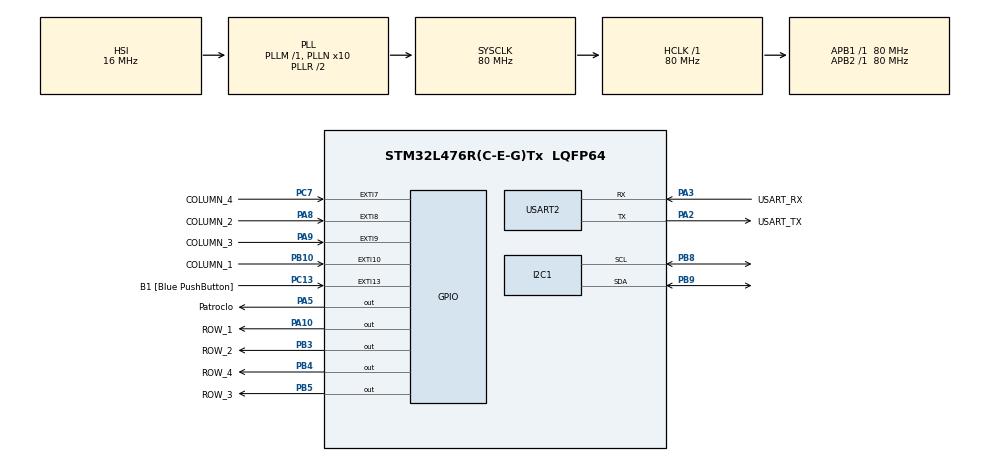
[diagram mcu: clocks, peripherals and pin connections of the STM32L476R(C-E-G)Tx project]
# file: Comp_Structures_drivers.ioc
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I2C1.Timing=0x10909CEC
Mcu.Family=STM32L4
Mcu.Name=STM32L476R(C-E-G)Tx
Mcu.Package=LQFP64
NVIC.EXTI15_10_IRQn=true\:0\:0\:false\:false\:true\:true\:true\:true
NVIC.EXTI9_5_IRQn=true\:0\:0\:false\:false\:true\:true\:true\:true
NVIC.PriorityGroup=NVIC_PRIORITYGROUP_4
NVIC.USART2_IRQn=true\:0\:0\:false\:false\:true\:true\:true\:true
PA10.GPIO_Label=ROW_1
PA10.Signal=GPIO_Output
PA13\ (JTMS-SWDIO).GPIO_Label=TMS
PA13\ (JTMS-SWDIO).Mode=Serial_Wire
PA13\ (JTMS-SWDIO).Signal=SYS_JTMS-SWDIO
PA14\ (JTCK-SWCLK).GPIO_Label=TCK
PA14\ (JTCK-SWCLK).Mode=Serial_Wire
PA14\ (JTCK-SWCLK).Signal=SYS_JTCK-SWCLK
PA2.GPIO_Label=USART_TX
PA2.GPIO_Mode=GPIO_MODE_AF_PP
PA2.GPIO_PuPd=GPIO_NOPULL
PA2.GPIO_Speed=GPIO_SPEED_FREQ_VERY_HIGH
PA2.Mode=Asynchronous
PA2.Signal=USART2_TX
PA3.GPIO_Label=USART_RX
PA3.GPIO_Mode=GPIO_MODE_AF_PP
PA3.GPIO_PuPd=GPIO_NOPULL
PA3.GPIO_Speed=GPIO_SPEED_FREQ_VERY_HIGH
PA3.Mode=Asynchronous
PA3.Signal=USART2_RX
PA5.GPIO_Label=Patroclo
PA5.GPIO_ModeDefaultOutputPP=GPIO_MODE_OUTPUT_PP
PA5.GPIO_PuPd=GPIO_NOPULL
PA5.GPIO_Speed=GPIO_SPEED_FREQ_LOW
PA5.Signal=GPIO_Output
PA8.GPIO_Label=COLUMN_2
PA8.GPIO_PuPd=GPIO_PULLDOWN
PA8.Signal=GPXTI8
PA9.GPIO_Label=COLUMN_3
PA9.GPIO_PuPd=GPIO_PULLDOWN
PA9.Signal=GPXTI9
PB10.GPIO_Label=COLUMN_1
PB10.GPIO_PuPd=GPIO_PULLDOWN
PB10.Signal=GPXTI10
PB3\ (JTDO-TRACESWO).GPIO_Label=ROW_2
PB3\ (JTDO-TRACESWO).Signal=GPIO_Output
PB4\ (NJTRST).GPIO_Label=ROW_4
PB4\ (NJTRST).Signal=GPIO_Output
PB5.GPIO_Label=ROW_3
PB5.Signal=GPIO_Output
PB8.Mode=I2C
PB8.Signal=I2C1_SCL
PB9.Mode=I2C
PB9.Signal=I2C1_SDA
PC13.GPIO_Label=B1 [Blue PushButton]
PC13.GPIO_ModeDefaultEXTI=GPIO_MODE_IT_FALLING
PC13.GPIO_PuPd=GPIO_NOPULL
PC13.Signal=GPXTI13
PC14-OSC32_IN\ (PC14).Mode=LSE-External-Oscillator
PC14-OSC32_IN\ (PC14).Signal=RCC_OSC32_IN
PC15-OSC32_OUT\ (PC15).Mode=LSE-External-Oscillator
PC15-OSC32_OUT\ (PC15).Signal=RCC_OSC32_OUT
PC7.GPIO_Label=COLUMN_4
PC7.GPIO_PuPd=GPIO_PULLDOWN
PC7.Signal=GPXTI7
PH0-OSC_IN\ (PH0).Signal=RCC_OSC_IN
PH1-OSC_OUT\ (PH1).Signal=RCC_OSC_OUT
ProjectManager.HeapSize=0x200
ProjectManager.StackSize=0x400
ProjectManager.TargetToolchain=STM32CubeIDE
RCC.ADCFreq_Value=64000000
RCC.AHBFreq_Value=80000000
RCC.APB1Freq_Value=80000000
RCC.APB1TimFreq_Value=80000000
RCC.APB2Freq_Value=80000000
RCC.APB2TimFreq_Value=80000000
RCC.CortexFreq_Value=80000000
RCC.HCLKFreq_Value=80000000
RCC.HSE_VALUE=8000000
RCC.HSI_VALUE=16000000
RCC.MSI_VALUE=4000000
RCC.PLLN=10
RCC.PLLSourceVirtual=RCC_PLLSOURCE_HSI
RCC.PREFETCH_ENABLE=1
RCC.SYSCLKFreq_VALUE=80000000
RCC.SYSCLKSource=RCC_SYSCLKSOURCE_PLLCLK
RCC.USBFreq_Value=64000000
RCC.VCOOutputFreq_Value=160000000
USART2.VirtualMode-Asynchronous=VM_ASYNC
board=NUCLEO-L476RG

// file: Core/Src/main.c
/* USER CODE BEGIN Header */
/**
  ******************************************************************************
  * @file           : main.c
  * @brief          : Main program body
  ******************************************************************************
  * @attention
  *
  * Copyright (c) 2023 STMicroelectronics.
  * All rights reserved.
  *
  * This software is licensed under terms that can be found in the LICENSE file
  * in the root directory of this software component.
  * If no LICENSE file comes with this software, it is provided AS-IS.
  *
  ******************************************************************************
  */
/* USER CODE END Header */
#include "main.h"

/* USER CODE BEGIN Includes */
#include "ring_buffer.h"
#include "stdio.h"
#include "ssd1306.h"
#include "ssd1306_fonts.h"
#include "keyboard_library.h"
#include "string.h"

/* USER CODE END Includes */

I2C_HandleTypeDef hi2c1;

UART_HandleTypeDef huart2;

/* USER CODE BEGIN PV */
uint8_t rx_buffer[5];
ring_buffer_t ring_buffer_uart_rx;
uint8_t password[] = {0x00,0x08,0x00,0x06,0x0F};
uint8_t rx_data;
uint16_t key_event = 0xFF;
uint8_t key_pressed;
uint8_t keyCount;

/* USER CODE END PV */

void SystemClock_Config(void);
static void MX_GPIO_Init(void);
static void MX_USART2_UART_Init(void);
static void MX_I2C1_Init(void);
/* USER CODE BEGIN PFP */
int _write(int file, char *ptr, int len)
{
	HAL_UART_Transmit(&huart2, (uint8_t*)ptr, len, HAL_MAX_DELAY);
	return len;
}
/* USER CODE END PFP */

/* USER CODE BEGIN 0 */
void HAL_UART_RxCpltCallback(UART_HandleTypeDef *huart)
{
	ring_buffer_put(&ring_buffer_uart_rx, key_pressed);
	HAL_UART_Receive_IT(&huart2, &key_pressed, 1);
}

void HAL_GPIO_EXTI_Callback(uint16_t GPIO_Pin)
{
			key_event = GPIO_Pin;
}

int memcmp(const void *str1, const void *str2, size_t n);

/* USER CODE END 0 */

int main(void)
{

  /* MCU Configuration--------------------------------------------------------*/

  /* Reset of all peripherals, Initializes the Flash interface and the Systick. */
	HAL_Init();

  /* Configure the system clock */
  SystemClock_Config();

  /* Initialize all configured peripherals */
  MX_GPIO_Init();
  MX_USART2_UART_Init();
  MX_I2C1_Init();
  /* USER CODE BEGIN 2 */
  keypad_init ();
  ring_buffer_init (&ring_buffer_uart_rx, rx_buffer, 5);

  HAL_UART_Receive_IT(&huart2, &rx_data, 1);

  /* USER CODE END 2 */

  /* Infinite loop */
  /* USER CODE BEGIN WHILE */

// ssd1306_Init();
// ssd1306_Fill(Black);
// ssd1306_WriteString("Hello World", Font_16x26, White);
// ssd1306_UpdateScreen();
  while (1) {
      if (key_event != 0xFF) { // Check if there is an event from the EXTi callback

          // Call the keypad handler to process the key event
          uint8_t key_pressed = keypad_handler(key_event);
          uint16_t size = ring_buffer_size(&ring_buffer_uart_rx);

          // Check if a key is pressed (key_pressed different from 0xFF)
          if (key_pressed != 0xFF) {
              // Print the pressed key in YAT (Your Application Terminal)
              printf("Key pressed: %x\r\n", key_pressed);

              // Put the key value into a ring buffer for further processing
              ring_buffer_put(&ring_buffer_uart_rx, key_pressed);
          }

          // Reset the event after processing
          key_event = 0xFF;

          // Increment the key count (counter for the number of keys pressed)
          keyCount++;

          if (keyCount == 5) {
              // Print the sequence every 5 keys pressed
              printf("The sequence is %x, %x, %x, %x, %x \r\n", rx_buffer[0], rx_buffer[1], rx_buffer[2], rx_buffer[3], rx_buffer[4]);
              keyCount = 0; // Restart the counter
          }

          if (key_pressed == 0x0E) {
              // Reset the UART RX buffer, clear buffer to restart sequence, and update OLED screen
              ring_buffer_reset(&ring_buffer_uart_rx);
              memset(rx_buffer, '\0', sizeof(rx_buffer));
              ssd1306_Fill(Black);
              ssd1306_SetCursor(20, 20);
              ssd1306_WriteString("WAIT", Font_16x26, White);
              ssd1306_UpdateScreen();
          }

          if ((memcmp(rx_buffer, password, 5) == 0) && (ring_buffer_full(&ring_buffer_uart_rx) == 1)) {
              // Display 'PASS' message on the OLED screen if the password is correct
              ssd1306_Fill(White);
              ssd1306_SetCursor(20, 20);
              ssd1306_WriteString("PASS", Font_16x26, Black);
              ssd1306_UpdateScreen();
          }

          if ((memcmp(rx_buffer, password, 5) != 0) && (ring_buffer_full(&ring_buffer_uart_rx) == 1)) {
              // Display 'FAIL' message on the OLED screen if the password is incorrect
              ssd1306_Fill(Black);
              ssd1306_SetCursor(20, 20);
              ssd1306_WriteString("FAIL", Font_16x26, White);
              ssd1306_UpdateScreen();
          }
      }
  }
}

//  {
//
//		if (key_event != 0xFF) { // check if there is a event from the EXTi callback
//			  uint16_t key_pressed = keypad_handler(key_event); // call the keypad handler
//			  if (key_pressed != 0xFF) {
//				  printf("Key pressed: %x\r\n", key_pressed); // print the key pressed
//				  }
//			  key_event = 0xFF; // clean the event
//
//	//		  ring_buffer_put(&ring_buffer, key_pressed);
//	//		  ssd1306_Fill(Black);
//	//		  ssd1306_WriteString("", Font_16x26, White);
//	//		  ssd1306_UpdateScreen();
//
//    /* USER CODE END WHILE */
//
//    /* USER CODE BEGIN 3 */
//  }
//  /* USER CODE END 3 */
//}
//}

void SystemClock_Config(void)
{
  RCC_OscInitTypeDef RCC_OscInitStruct = {0};
  RCC_ClkInitTypeDef RCC_ClkInitStruct = {0};

  /** Configure the main internal regulator output voltage
  */
  if (HAL_PWREx_ControlVoltageScaling(PWR_REGULATOR_VOLTAGE_SCALE1) != HAL_OK)
  {
    Error_Handler();
  }

  /** Initializes the RCC Oscillators according to the specified parameters
  * in the RCC_OscInitTypeDef structure.
  */
  RCC_OscInitStruct.OscillatorType = RCC_OSCILLATORTYPE_HSI;
  RCC_OscInitStruct.HSIState = RCC_HSI_ON;
  RCC_OscInitStruct.HSICalibrationValue = RCC_HSICALIBRATION_DEFAULT;
  RCC_OscInitStruct.PLL.PLLState = RCC_PLL_ON;
  RCC_OscInitStruct.PLL.PLLSource = RCC_PLLSOURCE_HSI;
  RCC_OscInitStruct.PLL.PLLM = 1;
  RCC_OscInitStruct.PLL.PLLN = 10;
  RCC_OscInitStruct.PLL.PLLP = RCC_PLLP_DIV7;
  RCC_OscInitStruct.PLL.PLLQ = RCC_PLLQ_DIV2;
  RCC_OscInitStruct.PLL.PLLR = RCC_PLLR_DIV2;
  if (HAL_RCC_OscConfig(&RCC_OscInitStruct) != HAL_OK)
  {
    Error_Handler();
  }

  /** Initializes the CPU, AHB and APB buses clocks
  */
  RCC_ClkInitStruct.ClockType = RCC_CLOCKTYPE_HCLK|RCC_CLOCKTYPE_SYSCLK
                              |RCC_CLOCKTYPE_PCLK1|RCC_CLOCKTYPE_PCLK2;
  RCC_ClkInitStruct.SYSCLKSource = RCC_SYSCLKSOURCE_PLLCLK;
  RCC_ClkInitStruct.AHBCLKDivider = RCC_SYSCLK_DIV1;
  RCC_ClkInitStruct.APB1CLKDivider = RCC_HCLK_DIV1;
  RCC_ClkInitStruct.APB2CLKDivider = RCC_HCLK_DIV1;

  if (HAL_RCC_ClockConfig(&RCC_ClkInitStruct, FLASH_LATENCY_4) != HAL_OK)
  {
    Error_Handler();
  }
}
static void MX_I2C1_Init(void)
{

  hi2c1.Instance = I2C1;
  hi2c1.Init.Timing = 0x10909CEC;
  hi2c1.Init.OwnAddress1 = 0;
  hi2c1.Init.AddressingMode = I2C_ADDRESSINGMODE_7BIT;
  hi2c1.Init.DualAddressMode = I2C_DUALADDRESS_DISABLE;
  hi2c1.Init.OwnAddress2 = 0;
  hi2c1.Init.OwnAddress2Masks = I2C_OA2_NOMASK;
  hi2c1.Init.GeneralCallMode = I2C_GENERALCALL_DISABLE;
  hi2c1.Init.NoStretchMode = I2C_NOSTRETCH_DISABLE;
  if (HAL_I2C_Init(&hi2c1) != HAL_OK)
  {
    Error_Handler();
  }

  /** Configure Analogue filter
  */
  if (HAL_I2CEx_ConfigAnalogFilter(&hi2c1, I2C_ANALOGFILTER_ENABLE) != HAL_OK)
  {
    Error_Handler();
  }

  /** Configure Digital filter
  */
  if (HAL_I2CEx_ConfigDigitalFilter(&hi2c1, 0) != HAL_OK)
  {
    Error_Handler();
  }

}

static void MX_USART2_UART_Init(void)
{

  huart2.Instance = USART2;
  huart2.Init.BaudRate = 115200;
  huart2.Init.WordLength = UART_WORDLENGTH_8B;
  huart2.Init.StopBits = UART_STOPBITS_1;
  huart2.Init.Parity = UART_PARITY_NONE;
  huart2.Init.Mode = UART_MODE_TX_RX;
  huart2.Init.HwFlowCtl = UART_HWCONTROL_NONE;
  huart2.Init.OverSampling = UART_OVERSAMPLING_16;
  huart2.Init.OneBitSampling = UART_ONE_BIT_SAMPLE_DISABLE;
  huart2.AdvancedInit.AdvFeatureInit = UART_ADVFEATURE_NO_INIT;
  if (HAL_UART_Init(&huart2) != HAL_OK)
  {
    Error_Handler();
  }

}

static void MX_GPIO_Init(void)
{
  GPIO_InitTypeDef GPIO_InitStruct = {0};

  /* GPIO Ports Clock Enable */
  __HAL_RCC_GPIOC_CLK_ENABLE();
  __HAL_RCC_GPIOH_CLK_ENABLE();
  __HAL_RCC_GPIOA_CLK_ENABLE();
  __HAL_RCC_GPIOB_CLK_ENABLE();

  /*Configure GPIO pin Output Level */
  HAL_GPIO_WritePin(GPIOA, Patroclo_Pin|ROW_1_Pin, GPIO_PIN_RESET);

  /*Configure GPIO pin Output Level */
  HAL_GPIO_WritePin(GPIOB, ROW_2_Pin|ROW_4_Pin|ROW_3_Pin, GPIO_PIN_RESET);

  /*Configure GPIO pin : B1_Pin */
  GPIO_InitStruct.Pin = B1_Pin;
  GPIO_InitStruct.Mode = GPIO_MODE_IT_FALLING;
  GPIO_InitStruct.Pull = GPIO_NOPULL;
  HAL_GPIO_Init(B1_GPIO_Port, &GPIO_InitStruct);

  /*Configure GPIO pins : Patroclo_Pin ROW_1_Pin */
  GPIO_InitStruct.Pin = Patroclo_Pin|ROW_1_Pin;
  GPIO_InitStruct.Mode = GPIO_MODE_OUTPUT_PP;
  GPIO_InitStruct.Pull = GPIO_NOPULL;
  GPIO_InitStruct.Speed = GPIO_SPEED_FREQ_LOW;
  HAL_GPIO_Init(GPIOA, &GPIO_InitStruct);

  /*Configure GPIO pin : COLUMN_1_Pin */
  GPIO_InitStruct.Pin = COLUMN_1_Pin;
  GPIO_InitStruct.Mode = GPIO_MODE_IT_RISING;
  GPIO_InitStruct.Pull = GPIO_PULLDOWN;
  HAL_GPIO_Init(COLUMN_1_GPIO_Port, &GPIO_InitStruct);

  /*Configure GPIO pin : COLUMN_4_Pin */
  GPIO_InitStruct.Pin = COLUMN_4_Pin;
  GPIO_InitStruct.Mode = GPIO_MODE_IT_RISING;
  GPIO_InitStruct.Pull = GPIO_PULLDOWN;
  HAL_GPIO_Init(COLUMN_4_GPIO_Port, &GPIO_InitStruct);

  /*Configure GPIO pins : COLUMN_2_Pin COLUMN_3_Pin */
  GPIO_InitStruct.Pin = COLUMN_2_Pin|COLUMN_3_Pin;
  GPIO_InitStruct.Mode = GPIO_MODE_IT_RISING;
  GPIO_InitStruct.Pull = GPIO_PULLDOWN;
  HAL_GPIO_Init(GPIOA, &GPIO_InitStruct);

  /*Configure GPIO pins : ROW_2_Pin ROW_4_Pin ROW_3_Pin */
  GPIO_InitStruct.Pin = ROW_2_Pin|ROW_4_Pin|ROW_3_Pin;
  GPIO_InitStruct.Mode = GPIO_MODE_OUTPUT_PP;
  GPIO_InitStruct.Pull = GPIO_NOPULL;
  GPIO_InitStruct.Speed = GPIO_SPEED_FREQ_LOW;
  HAL_GPIO_Init(GPIOB, &GPIO_InitStruct);

  /* EXTI interrupt init*/
  HAL_NVIC_SetPriority(EXTI9_5_IRQn, 0, 0);
  HAL_NVIC_EnableIRQ(EXTI9_5_IRQn);

  HAL_NVIC_SetPriority(EXTI15_10_IRQn, 0, 0);
  HAL_NVIC_EnableIRQ(EXTI15_10_IRQn);

}

void Error_Handler(void)
{
  __disable_irq();
  while (1)
  {
  }
}
